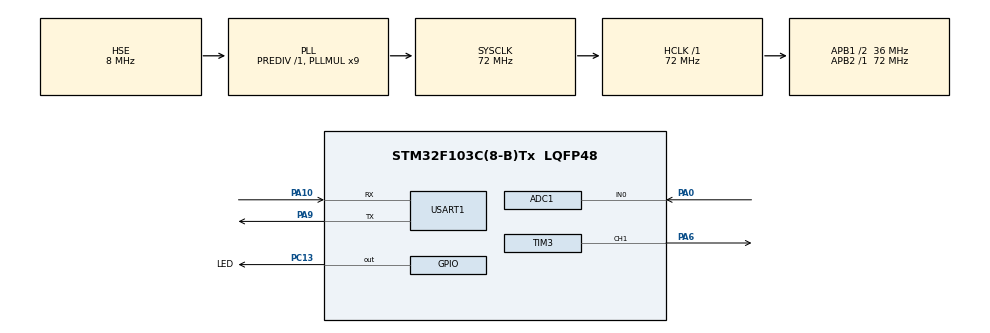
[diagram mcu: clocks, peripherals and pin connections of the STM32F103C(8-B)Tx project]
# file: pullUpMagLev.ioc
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ADC1.Channel-0\#ChannelRegularConversion=ADC_CHANNEL_0
ADC1.NbrOfConversionFlag=1
ADC1.Rank-0\#ChannelRegularConversion=1
ADC1.SamplingTime-0\#ChannelRegularConversion=ADC_SAMPLETIME_1CYCLE_5
ADC1.master=1
Mcu.Family=STM32F1
Mcu.Name=STM32F103C(8-B)Tx
Mcu.Package=LQFP48
NVIC.PriorityGroup=NVIC_PRIORITYGROUP_4
NVIC.TIM2_IRQn=true\:0\:0\:false\:false\:true\:true\:true\:true
NVIC.USART1_IRQn=true\:4\:0\:true\:false\:true\:true\:true\:true
PA0-WKUP.Signal=ADCx_IN0
PA10.Mode=Asynchronous
PA10.Signal=USART1_RX
PA6.Signal=S_TIM3_CH1
PA9.Mode=Asynchronous
PA9.Signal=USART1_TX
PC13-TAMPER-RTC.GPIO_Label=LED
PC13-TAMPER-RTC.Signal=GPIO_Output
PD0-OSC_IN.Mode=HSE-External-Oscillator
PD0-OSC_IN.Signal=RCC_OSC_IN
PD1-OSC_OUT.Mode=HSE-External-Oscillator
PD1-OSC_OUT.Signal=RCC_OSC_OUT
ProjectManager.HeapSize=0x200
ProjectManager.StackSize=0x400
ProjectManager.TargetToolchain=STM32CubeIDE
RCC.ADCPresc=RCC_ADCPCLK2_DIV6
RCC.AHBFreq_Value=72000000
RCC.APB1CLKDivider=RCC_HCLK_DIV2
RCC.APB1Freq_Value=36000000
RCC.APB1TimFreq_Value=72000000
RCC.APB2Freq_Value=72000000
RCC.APB2TimFreq_Value=72000000
RCC.HCLKFreq_Value=72000000
RCC.PLLMUL=RCC_PLL_MUL9
RCC.PLLSourceVirtual=RCC_PLLSOURCE_HSE
RCC.SYSCLKFreq_VALUE=72000000
RCC.SYSCLKSource=RCC_SYSCLKSOURCE_PLLCLK
RCC.USBFreq_Value=72000000
SH.ADCx_IN0.0=ADC1_IN0,IN0
SH.S_TIM3_CH1.0=TIM3_CH1,PWM Generation1 CH1
TIM2.Period=799
TIM2.Prescaler=71
TIM3.AutoReloadPreload=TIM_AUTORELOAD_PRELOAD_ENABLE
TIM3.Channel-PWM\ Generation1\ CH1=TIM_CHANNEL_1
TIM3.Period=249
TIM3.Prescaler=72
USART1.VirtualMode=VM_ASYNC
VP_ADC1_Vref_Input.Mode=IN-Vrefint
VP_SYS_VS_ND.Mode=No_Debug
VP_TIM2_VS_ClockSourceINT.Mode=Internal
board=custom

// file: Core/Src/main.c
/* USER CODE BEGIN Header */
/**
 ******************************************************************************
 * @file           : main.c
 * @brief          : Main program body
 ******************************************************************************
 * @attention
 *
 * <h2><center>&copy; Copyright (c) 2021 STMicroelectronics.
 * All rights reserved.</center></h2>
 *
 * This software component is licensed by ST under BSD 3-Clause license,
 * the "License"; You may not use this file except in compliance with the
 * License. You may obtain a copy of the License at:
 * opensource.org/licenses/BSD-3-Clause
 *
 ******************************************************************************
 */
/* USER CODE END Header */
#include "main.h"
#include "adc.h"
#include "tim.h"
#include "usart.h"
#include "gpio.h"

/* USER CODE BEGIN Includes */
#include <stdio.h>
#include <stdlib.h> // For atof()
#include <string.h> // For strcmp()
#include "pid.h"
/* USER CODE END Includes */

/* USER CODE BEGIN PD */
#define RX_BUFFER_SIZE 20 // Define size for UART reception buffer
/* USER CODE END PD */

/* USER CODE BEGIN PV */
PID_TYPE pid;
uint8_t isTriggered = 0;
uint8_t num; // For single character commands
float target = 3.18; // Initial target value, now a global variable
uint8_t pid_running = 0; // Flag to control PID operation, 0=stop, 1=start

// Buffer for receiving new target value from UART
uint8_t rx_buffer[RX_BUFFER_SIZE];
uint8_t rx_index = 0;
/* USER CODE END PV */

void SystemClock_Config(void);

/* USER CODE BEGIN 0 */

#ifdef __GNUC__
/* With GCC, small printf (option LD Linker->Libraries->Small printf
 set to 'Yes') calls __io_putchar() */
#define PUTCHAR_PROTOTYPE int __io_putchar(int ch)
#else
#define PUTCHAR_PROTOTYPE int fputc(int ch, FILE *f)
#endif /* __GNUC__ */

PUTCHAR_PROTOTYPE {
	HAL_UART_Transmit(&huart1, (uint8_t*) &ch, 1, 0xFFFF);
	return ch;
}

/* USER CODE END 0 */

int main(void)
{
  /* USER CODE BEGIN 1 */
	float filtered_value=0;
	float measure;
	// float target = 2.4; // Moved to global scope
	uint16_t adc, inf;
	uint16_t count_p = 0;
	ADC_ChannelConfTypeDef sConfig;
  /* USER CODE END 1 */

  /* MCU Configuration--------------------------------------------------------*/

  /* Reset of all peripherals, Initializes the Flash interface and the Systick. */
  HAL_Init();

  /* Configure the system clock */
  SystemClock_Config();

  /* Initialize all configured peripherals */
  MX_GPIO_Init();
  MX_USART1_UART_Init();
  MX_ADC1_Init();
  MX_TIM3_Init();
  MX_TIM2_Init();
  /* USER CODE BEGIN 2 */
	pid.P = 1025;        //P.I.D常量初始化   不同的线圈,不同的电源,参数不同
	pid.I = 0;
	pid.D = 568;
	pid.Ilimit = 0.8;
	pid.PreError = 0;
	pid.Ilimit_flag = 0;
	pid.Irang = 10;
	pid.Integral = 0;

	HAL_ADCEx_Calibration_Start(&hadc1);    //校准ADC
	measure = ADC_GetVotage(&hadc1, 0, 3, 1);
	pid.PreError = target - measure;

	HAL_TIM_Base_Start_IT(&htim2);          //开启定时器,定时采样
	HAL_TIM_PWM_Start(&htim3, TIM_CHANNEL_1);
    __HAL_TIM_SET_COMPARE(&htim3, TIM_CHANNEL_1, 0); // Start with PWM off

	HAL_UART_Receive_IT(&huart1, &num, 1);    //开启串口接收中断

	sConfig.SamplingTime = ADC_SAMPLETIME_239CYCLES_5;		//采用周期239.5周期
	sConfig.Rank = 1;

	HAL_GPIO_TogglePin(LED_GPIO_Port, LED_Pin);           //开机LED闪烁
	HAL_Delay(200);												 //调试时使用,以判断单片机是否运行
	HAL_GPIO_TogglePin(LED_GPIO_Port, LED_Pin);
	HAL_Delay(200);
	HAL_GPIO_TogglePin(LED_GPIO_Port, LED_Pin);
	HAL_Delay(200);

  /* USER CODE END 2 */

  /* Infinite loop */
	while (1) {

    /* USER CODE BEGIN 3 */
		if (isTriggered) {
			isTriggered = 0;

            // ADC sampling part
			sConfig.Channel = ADC_CHANNEL_0;
			HAL_ADC_ConfigChannel(&hadc1, &sConfig);
			HAL_ADC_Start(&hadc1);
			HAL_ADC_PollForConversion(&hadc1, 30);
			adc = HAL_ADC_GetValue(&hadc1);
			HAL_ADC_Stop(&hadc1);

			sConfig.Channel = ADC_CHANNEL_17;
			HAL_ADC_ConfigChannel(&hadc1, &sConfig);
			HAL_ADC_Start(&hadc1);
			HAL_ADC_PollForConversion(&hadc1, 30);
			inf = HAL_ADC_GetValue(&hadc1);
			HAL_ADC_Stop(&hadc1);

			measure = 1.20 * (float) adc / (float) inf;
			filtered_value = 0.5 * filtered_value + 0.5 * measure;

            if(pid_running)
            {

                PID_Position_Cal(&pid, target, measure);

                if (pid.Output < 0.0) {
                    __HAL_TIM_SET_COMPARE(&htim3, TIM_CHANNEL_1, 0);
                } else if (pid.Output > 100.0) {
                    __HAL_TIM_SET_COMPARE(&htim3, TIM_CHANNEL_1, htim3.Instance->ARR);
                } else {
                    __HAL_TIM_SET_COMPARE(&htim3, TIM_CHANNEL_1, (uint32_t )(pid.Output / 100.0 * htim3.Instance->ARR));
                }

                count_p++;
                if(count_p >= 50){ // Use >= for safety
                    count_p = 0;
                    printf("t%d,m%d,pid%d\n",(int)(target*100),(int)(measure*100), (int)(pid.Output));
                }

            }
            else
            {
                __HAL_TIM_SET_COMPARE(&htim3, TIM_CHANNEL_1, 0); // Keep PWM off if stopped
                pid.Integral = 0; // Reset integral term to prevent windup
            }
		}

	}
  /* USER CODE END 3 */
}

void SystemClock_Config(void)
{
  RCC_OscInitTypeDef RCC_OscInitStruct = {0};
  RCC_ClkInitTypeDef RCC_ClkInitStruct = {0};
  RCC_PeriphCLKInitTypeDef PeriphClkInit = {0};

  /** Initializes the RCC Oscillators according to the specified parameters
  * in the RCC_OscInitTypeDef structure.
  */
  RCC_OscInitStruct.OscillatorType = RCC_OSCILLATORTYPE_HSE;
  RCC_OscInitStruct.HSEState = RCC_HSE_ON;
  RCC_OscInitStruct.HSEPredivValue = RCC_HSE_PREDIV_DIV1;
  RCC_OscInitStruct.HSIState = RCC_HSI_ON;
  RCC_OscInitStruct.PLL.PLLState = RCC_PLL_ON;
  RCC_OscInitStruct.PLL.PLLSource = RCC_PLLSOURCE_HSE;
  RCC_OscInitStruct.PLL.PLLMUL = RCC_PLL_MUL9;
  if (HAL_RCC_OscConfig(&RCC_OscInitStruct) != HAL_OK)
  {
    Error_Handler();
  }
  /** Initializes the CPU, AHB and APB buses clocks
  */
  RCC_ClkInitStruct.ClockType = RCC_CLOCKTYPE_HCLK|RCC_CLOCKTYPE_SYSCLK
                              |RCC_CLOCKTYPE_PCLK1|RCC_CLOCKTYPE_PCLK2;
  RCC_ClkInitStruct.SYSCLKSource = RCC_SYSCLKSOURCE_PLLCLK;
  RCC_ClkInitStruct.AHBCLKDivider = RCC_SYSCLK_DIV1;
  RCC_ClkInitStruct.APB1CLKDivider = RCC_HCLK_DIV2;
  RCC_ClkInitStruct.APB2CLKDivider = RCC_HCLK_DIV1;

  if (HAL_RCC_ClockConfig(&RCC_ClkInitStruct, FLASH_LATENCY_2) != HAL_OK)
  {
    Error_Handler();
  }
  PeriphClkInit.PeriphClockSelection = RCC_PERIPHCLK_ADC;
  PeriphClkInit.AdcClockSelection = RCC_ADCPCLK2_DIV6;
  if (HAL_RCCEx_PeriphCLKConfig(&PeriphClkInit) != HAL_OK)
  {
    Error_Handler();
  }
}

/* USER CODE BEGIN 4 */

//定时采样
void HAL_TIM_PeriodElapsedCallback(TIM_HandleTypeDef *htim) { // 1.25Khz
	if (htim == (&htim2)) {
		isTriggered = 1;
	}
}

/******************************************************************************
 * @brief  UART接收完成回调函数
 * @note   此函数在每次通过UART1成功接收一个字节后被调用
 * - 实现了通过"start"和"stop"指令控制PID启停
 * - 实现了通过特定字符('+','-','(',')','<','>')在线调整PID参数
 * - 实现了通过接收一串数字（以换行符'\n'结尾）来修改目标值`target`
 * - 新增：通过 'p', 'i', 'd' + 数字 的形式直接设定PID参数
 ******************************************************************************/
void HAL_UART_RxCpltCallback(UART_HandleTypeDef *huart) {
    if(huart->Instance == USART1) {
        // Check for single character PID tuning commands
        if (num == '+') {
            pid.D += 1;
			printf("P:%d, I*10:%d, D:%d\n", (int)pid.P, (int)(pid.I * 10), (int)pid.D);
        } else if (num == '-') {
            pid.D -= 1;
			printf("P:%d, I*10:%d, D:%d\n", (int)pid.P, (int)(pid.I * 10), (int)pid.D);
        } else if (num == ')') {
            pid.P += 2;
			printf("P:%d, I*10:%d, D:%d\n", (int)pid.P, (int)(pid.I * 10), (int)pid.D);
        } else if (num == '(') {
            pid.P -= 2;
			printf("P:%d, I*10:%d, D:%d\n", (int)pid.P, (int)(pid.I * 10), (int)pid.D);
        } else if (num == '<') {
            pid.I -= 0.1;
			printf("P:%d, I*10:%d, D:%d\n", (int)pid.P, (int)(pid.I * 10), (int)pid.D);
        } else if (num == '>') {
            pid.I += 0.1;
			printf("P:%d, I*10:%d, D:%d\n", (int)pid.P, (int)(pid.I * 10), (int)pid.D);
        }
        // Process string commands (start/stop/target value/PID set)
        else {
            if (num != '\n' && num != '\r' && rx_index < RX_BUFFER_SIZE - 1) {
                rx_buffer[rx_index++] = num;
            } else { // Received a newline or buffer is full
                rx_buffer[rx_index] = '\0';
                if (rx_index > 0) {
                    if (strcmp((const char*)rx_buffer, "start") == 0) {
                        pid_running = 1;
                        printf("PID started.\n");
                    } else if (strcmp((const char*)rx_buffer, "stop") == 0) {
                        pid_running = 0;
                        printf("PID stopped.\n");
                    }
                    // ===== NEW FUNCTIONALITY START =====
                    else if (rx_buffer[0] == 'p' || rx_buffer[0] == 'P') {
                        pid.P = atof((const char*)rx_buffer + 1);
                        printf("P:%d, I*10:%d, D:%d\n", (int)pid.P, (int)(pid.I * 10), (int)pid.D);
                    } else if (rx_buffer[0] == 'i' || rx_buffer[0] == 'I') {
                        pid.I = atof((const char*)rx_buffer + 1);
                        printf("P:%d, I*10:%d, D:%d\n", (int)pid.P, (int)(pid.I * 10), (int)pid.D);
                    } else if (rx_buffer[0] == 'd' || rx_buffer[0] == 'D') {
                        pid.D = atof((const char*)rx_buffer + 1);
                        printf("P:%d, I*10:%d, D:%d\n", (int)pid.P, (int)(pid.I * 10), (int)pid.D);
                    }
                    // ===== NEW FUNCTIONALITY END =====
                    else {
                        float new_target = atof((const char*)rx_buffer);
                        if (new_target > 0) { // Basic validation
                            target = new_target;
                            printf("New Target set to: %d\n", (int)(target * 100));
                        }
                    }
                }
                rx_index = 0; // Reset buffer index for the next command
            }
        }

        // Re-enable UART receive interrupt
        HAL_UART_Receive_IT(&huart1, &num, 1);
    }
}

/* USER CODE END 4 */

void Error_Handler(void)
{
	__disable_irq();
	while (1) {
	}
}

/************************ (C) COPYRIGHT STMicroelectronics *****END OF FILE****/
